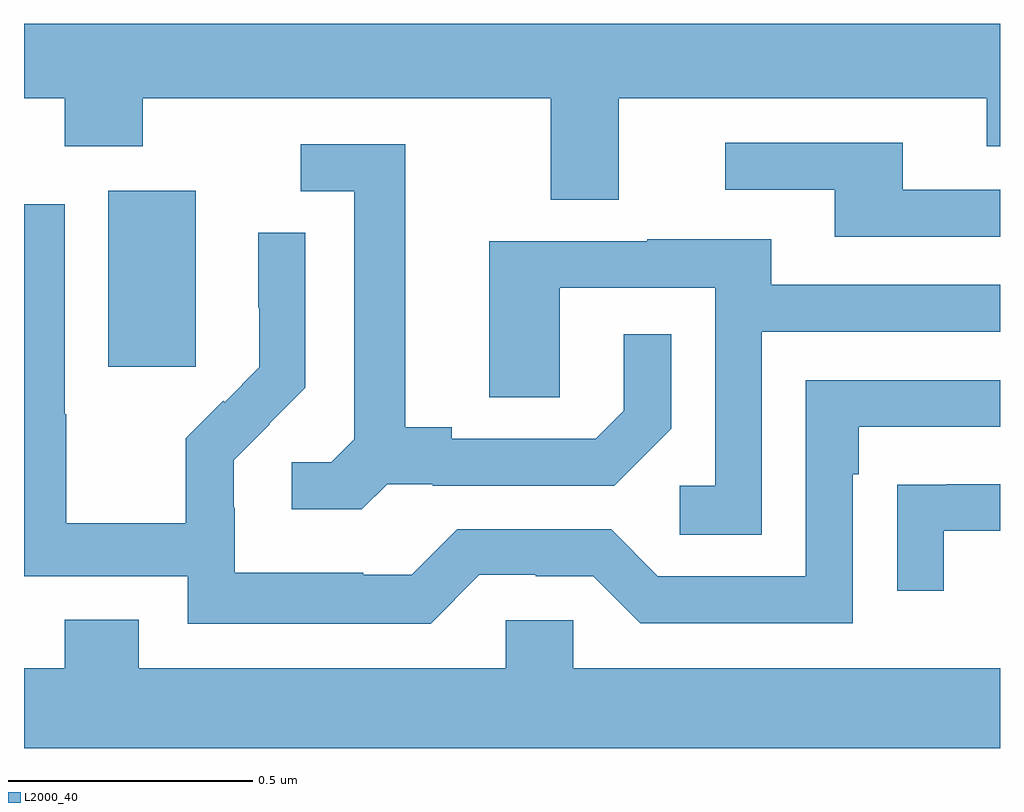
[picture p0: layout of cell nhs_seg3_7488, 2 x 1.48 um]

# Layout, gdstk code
import gdstk
lib = gdstk.Library(unit=1e-6, precision=1e-09)
def R(c, l, rs):  # rectangles x0, y0, x1, y1
    for r in rs: c.add(gdstk.rectangle(r[:2], r[2:], *l))
def P(c, l, *ps):  # polygons
    for p in ps: c.add(gdstk.Polygon(p, *l))
L2000_40 = (2000, 40)

nhs_seg3_7488 = lib.new_cell('nhs_seg3_7488')
R(nhs_seg3_7488, L2000_40, [(204.173,701.697,204.352,702.058)])
P(nhs_seg3_7488, L2000_40, [(205.219,702.248),(205.973,702.248),(205.973,702.149),(206,702.149),(206,702.4),(204,702.4),(204,702.248),(204.083,702.248),(204.083,702.149),(204.243,702.149),(204.243,702.248),(205.079,702.248),(205.079,702.04),(205.219,702.04)],
  [(206,702.06),(205.801,702.06),(205.801,702.156),(205.437,702.156),(205.437,702.06),(205.661,702.06),(205.661,701.964),(206,701.964)],
  [(204.744,701.457),(204.838,701.457),(204.838,701.454),(205.21,701.454),(205.326,701.57),(205.326,701.764),(205.229,701.764),(205.229,701.607),(205.172,701.55),(204.877,701.55),(204.877,701.573),(204.781,701.573),(204.781,702.153),(204.567,702.153),(204.567,702.057),(204.677,702.057),(204.677,701.549),(204.63,701.502),(204.549,701.502),(204.549,701.405),(204.692,701.405)],
  [(204.933,701.271),(205.049,701.271),(205.049,701.268),(205.167,701.268),(205.263,701.172),(205.698,701.172),(205.698,701.477),(205.711,701.477),(205.711,701.574),(206,701.574),(206,701.67),(205.602,701.67),(205.602,701.268),(205.299,701.268),(205.203,701.364),(204.888,701.364),(204.795,701.271),(204.695,701.271),(204.695,701.275),(204.432,701.275),(204.432,701.409),(204.43,701.409),(204.43,701.506),(204.504,701.58),(204.503,701.581),(204.576,701.654),(204.576,701.972),(204.48,701.972),(204.48,701.818),(204.482,701.818),(204.482,701.696),(204.411,701.625),(204.408,701.628),(204.331,701.551),(204.331,701.377),(204.087,701.377),(204.087,701.6),(204.084,701.6),(204.084,702.03),(204,702.03),(204,701.268),(204.336,701.268),(204.336,701.171),(204.833,701.171)],
  [(205.512,701.769),(206,701.769),(206,701.865),(205.531,701.865),(205.531,701.959),(205.277,701.959),(205.277,701.955),(204.953,701.955),(204.953,701.635),(205.098,701.635),(205.098,701.859),(205.416,701.859),(205.416,701.454),(205.344,701.454),(205.344,701.353),(205.512,701.353)],
  [(205.885,701.361),(206,701.361),(206,701.457),(205.891,701.457),(205.891,701.456),(205.789,701.456),(205.789,701.238),(205.885,701.238)],
  [(206,701.08),(205.125,701.08),(205.125,701.178),(204.987,701.178),(204.987,701.08),(204.235,701.08),(204.235,701.179),(204.083,701.179),(204.083,701.08),(204,701.08),(204,700.916),(206,700.916)])

lib.write_gds('nhs_seg3_7488.gds')
